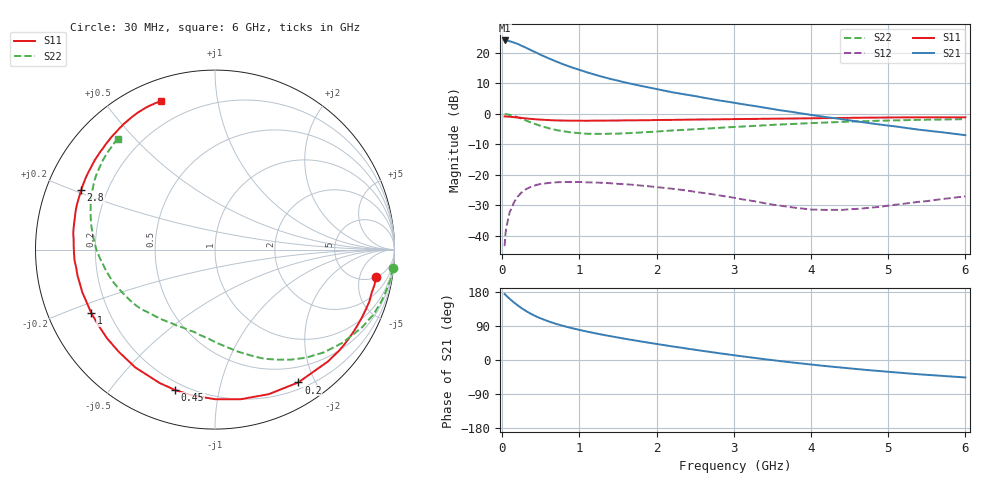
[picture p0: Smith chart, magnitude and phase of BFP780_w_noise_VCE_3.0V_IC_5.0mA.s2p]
! Infineon Technologies  Discrete & RF Semiconductors
! BFP780
! VCE =  3.0 V,  IC =  5.0 mA
! Common Emitter S-Parameters:  Jul 2015
# GHz  S  MA  R  50
!  f  S11  S21  S12  S22
! GHz  MAG  ANG  MAG  ANG  MAG  ANG  MAG  ANG
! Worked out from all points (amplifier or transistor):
!   75 points, 30 MHz to 6 GHz, reference 50 ohm
!   highest |S21| = 24.1 dB at 30 MHz (marker M1)
!   |S21| within 3 dB of that: start of sweep to 357.4 MHz
!   unconditionally stable (mu >= 1): 2.852 GHz to end of sweep
!   at 150 MHz: K = 0.03, MSG = 26.2 dB, |S12| = -29.0 dB
!   at 2.3 GHz: K = 0.66, MSG = 15.7 dB, |S12| = -24.8 dB
!   at 6 GHz: K = 1.80, MAG = 4.9 dB, |S12| = -27.0 dB
!   lowest NFmin = 0.72 dB at 450 MHz
!   S11 on the Smith chart (normalised r, x): 30 MHz: 5, -9; 200 MHz: 0.28, -1.77; 450 MHz: 0.16, -0.74; 1 GHz: 0.13, -0.24; 2.8 GHz: 0.11, +0.21; 6 GHz: 0.09, +0.70
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0.03  0.9108 -9.5  16 174.1  0.0068 81.9  0.9959 -5.9
0.08  0.9016 -24.7  15.8 164.3  0.0201 74.3  0.9769 -15.4
0.11  0.8951 -33.5  15.41 158.8  0.0268 70.6  0.9581 -21.0
0.14  0.8873 -42.1  14.98 153.6  0.0326 64.6  0.9334 -26.3
0.2  0.8736 -57.9  14.03 144.1  0.0442 56.1  0.8804 -36.1
0.25  0.8594 -69.6  13.11 136.7  0.0517 48.8  0.8354 -43.2
0.3  0.846 -80.3  12.28 130.2  0.0578 42.5  0.7867 -50.0
0.4  0.8228 -98.4  10.66 118.8  0.0658 32.7  0.7014 -60.9
0.45  0.8134 -105.9  9.97 113.9  0.0689 28.1  0.6671 -65.7
0.5  0.8048 -112.5  9.275 109.6  0.0712 24.5  0.6355 -69.7
0.6  0.7927 -124.0  8.155 101.8  0.0739 17.6  0.5834 -77.2
0.7  0.7822 -133.3  7.224 95.1  0.0758 12.1  0.5437 -83.7
0.8  0.7787 -140.7  6.433 89.4  0.0766 7.4  0.5183 -89.3
1  0.7746 -152.9  5.271 79.4  0.0766 -0.5  0.484 -99.6
1.1  0.7728 -157.7  4.797 74.9  0.0755 -3.8  0.4729 -104.4
1.6  0.785 -175.7  3.261 55.6  0.0703 -17.2  0.482 -123.9
2.1  0.7972 171.1  2.406 39.1  0.0613 -27.3  0.5249 -140.3
2.8  0.8161 156.1  1.673 18.2  0.0465 -35.1  0.5905 -161.2
3.1  0.8247 150.3  1.454 9.9  0.04 -35.7  0.6206 -169.8
4.1  0.8513 133.0  0.923 -14.1  0.0269 -15.9  0.7149 165.6
5.1  0.876 119.4  0.623 -32.7  0.0326 9.7  0.785 146.3
6  0.8808 109.9  0.448 -46.1  0.0446 14.1  0.8213 131.3
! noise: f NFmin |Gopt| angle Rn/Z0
0.45  0.72  0.3  88  0.11
0.9  0.88  0.34  112  0.11
1.5  1.2  0.46  153  0.07
1.8  1.51  0.5  166  0.06
2.4  1.86  0.56  -178  0.08
3  2.44  0.62  -161  0.14
3.5  3.41  0.66  -147  0.29
